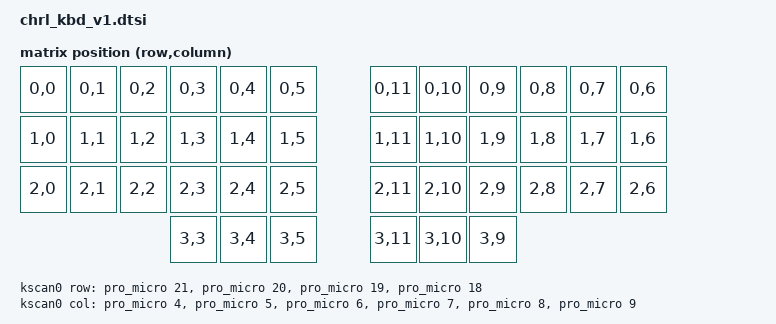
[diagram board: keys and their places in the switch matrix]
/*
 * chrl-kbd v1 -- shared hardware definition for both halves.
 *
 * The PCB is reversible: one design, flipped, with solder jumpers on the
 * controller footprint selecting the nets. Both halves therefore share a
 * single pin definition, and ALL of the GPIO config lives here rather than
 * being split across the two overlays. The only per-half difference is the
 * matrix transform's col-offset, in chrl_kbd_v1_right.overlay.
 *
 * Pin assignment taken from the fabricated PCB. GPIO flags per
 * https://zmk.dev/docs/config/kscan -- for col2row, columns are driven
 * outputs and rows are pulled-down inputs.
 */

#include <dt-bindings/zmk/matrix_transform.h>

/ {
    chosen {
        zmk,kscan = &kscan0;
        zmk,matrix_transform = &default_transform;
    };

    kscan0: kscan {
        compatible = "zmk,kscan-gpio-matrix";
        wakeup-source;
        diode-direction = "col2row";

        /* P4..P9, outer/pinky side -> inner. Same on both halves. */
        col-gpios
            = <&pro_micro 4 GPIO_ACTIVE_HIGH>
            , <&pro_micro 5 GPIO_ACTIVE_HIGH>
            , <&pro_micro 6 GPIO_ACTIVE_HIGH>
            , <&pro_micro 7 GPIO_ACTIVE_HIGH>
            , <&pro_micro 8 GPIO_ACTIVE_HIGH>
            , <&pro_micro 9 GPIO_ACTIVE_HIGH>
            ;

        /*
         * DESCENDING pin order, and that is not a mistake. Matrix row 0 must
         * be the top row, and on this PCB the top row is P21 while the thumb
         * row is P18. Listing these as P18..P21 would compile cleanly and give
         * a keyboard whose rows are upside down.
         */
        row-gpios
            = <&pro_micro 21 (GPIO_ACTIVE_HIGH | GPIO_PULL_DOWN)>   /* top   */
            , <&pro_micro 20 (GPIO_ACTIVE_HIGH | GPIO_PULL_DOWN)>   /* home  */
            , <&pro_micro 19 (GPIO_ACTIVE_HIGH | GPIO_PULL_DOWN)>   /* bot   */
            , <&pro_micro 18 (GPIO_ACTIVE_HIGH | GPIO_PULL_DOWN)>   /* thumb */
            ;
    };

    /*
     * 3x6 + 3 per half, as 4 rows x 12 columns. The right half sets
     * col-offset = <6>, so its own columns 0..5 land in 6..11.
     *
     * The right half of every line runs BACKWARDS -- 11, 10, 9, 8, 7, 6 --
     * and this is the crux of the reversible design. On both halves, matrix
     * column 0 is the OUTER column, because flipping the board puts P4 on the
     * far side of each hand. But the keymap is read left to right across the
     * whole keyboard, so on the right hand that is inner to outer: Y U I O P -.
     * Y is therefore the right half's column 5, and "-" is its column 0.
     *
     * Writing this side ascending would compile, scan every key correctly, and
     * produce a keyboard whose right half is mirrored: "-" where Y should be.
     *
     * Same reasoning on the thumb row. Left to right the right thumbs are
     * ENTER, HI, BSPC -- near, mid, far -- which is columns 11, 10, 9.
     */
    default_transform: keymap_transform_0 {
        compatible = "zmk,matrix-transform";
        columns = <12>;
        rows = <4>;
        map = <
RC(0,0) RC(0,1) RC(0,2) RC(0,3) RC(0,4) RC(0,5)     RC(0,11) RC(0,10) RC(0,9) RC(0,8) RC(0,7) RC(0,6)
RC(1,0) RC(1,1) RC(1,2) RC(1,3) RC(1,4) RC(1,5)     RC(1,11) RC(1,10) RC(1,9) RC(1,8) RC(1,7) RC(1,6)
RC(2,0) RC(2,1) RC(2,2) RC(2,3) RC(2,4) RC(2,5)     RC(2,11) RC(2,10) RC(2,9) RC(2,8) RC(2,7) RC(2,6)
                        RC(3,3) RC(3,4) RC(3,5)     RC(3,11) RC(3,10) RC(3,9)
        >;
    };
};
